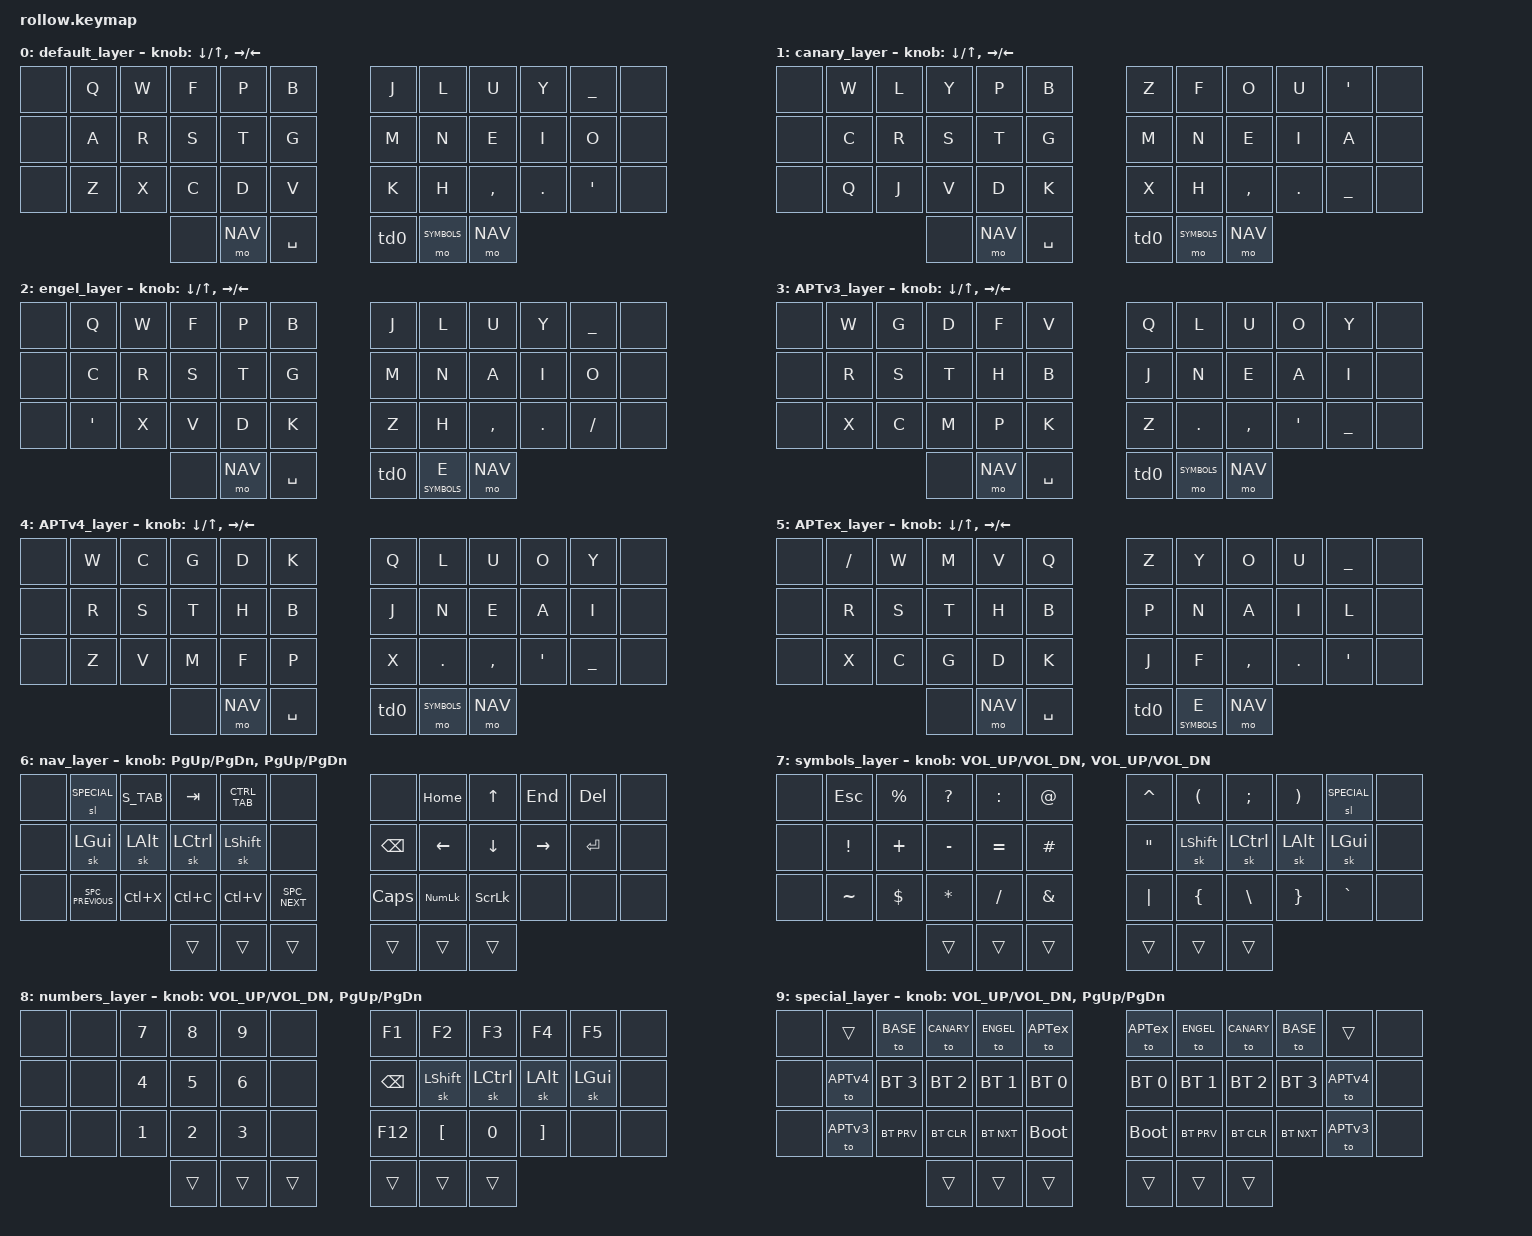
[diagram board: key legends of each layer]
/*
 * Copyright (c) 2020 The ZMK Contributors
 *
 * SPDX-License-Identifier: MIT
 */

#include <behaviors.dtsi>
#include <dt-bindings/zmk/keys.h>
#include <dt-bindings/zmk/bt.h>

#define BASE 0
#define CANARY 1
#define ENGEL 2
#define APTv3 3
#define APTv4 4
#define APTex 5
#define NAV 6
#define SYMBOLS 7
#define NUMBERS 8
#define SPECIAL 9

#define LAUNCHER (LG(TAB))
#define CTRL_TAB (LC(TAB))
#define C_S_TAB (LC(LS(TAB)))

#define SPC_PREVIOUS (LC(LG(LEFT)))
#define S_PRV SPC_PREVIOUS

#define SPC_NEXT (LC(LG(RIGHT)))
#define S_NXT SPC_NEXT

&caps_word {
    continue-list = <UNDERSCORE MINUS>;
};

&sk {
  release-after-ms = <2000>;
  quick-release;
};

/ {

  chosen {
    zmk,battery = &vbatt;
    //zmk,matrix_transform = &five_column_transform;
  };

  vbatt: vbatt {
      compatible = "zmk,battery-nrf-vddh";
      label = "VBATT";
  };

  conditional_layers {
      compatible = "zmk,conditional-layers";
      tri_layer {
          if-layers = <6 7>;
          then-layer = <8>;
      };
  };


  behaviors {
      td0: tap_dance_smart_shift {
          compatible = "zmk,behavior-tap-dance";
          label = "TAP_DANCE_SMART_SHIFT";
          #binding-cells = <0>;
          tapping-term-ms = <175>;
          bindings = <&sk LSHIFT>, <&caps_word>;
      };
      gqt: global-quick-tap {
          compatible = "zmk,behavior-hold-tap";
          label = "GLOBAL_QUICK_TAP";
          #binding-cells = <2>;
          flavor = "tap-preferred";
          tapping-term-ms = <175>;
          quick-tap-ms = <125>;
          global-quick-tap;
          bindings = <&mo>, <&kp>;
      };
  };

  combos {
    compatible = "zmk,combos";
        combo_esc {
            timeout-ms = <40>;
            key-positions = <0 1>;
            bindings = <&kp ESC>;
        };
        combo_sft {
            timeout-ms = <40>;
            key-positions = <37 38>;
            bindings = <&sk LSHIFT>;
        };
    };

        keymap {
                compatible = "zmk,keymap";

                default_layer {
/* Default
 * .-----------------------------------------.                    .-----------------------------------------.
 * | TAB  |   Q  |   W  |   E  |   R  |   T  |                    |   Y  |   U  |   I  |   O  |   P  | BKSP |
 * |------+------+------+------+------+------|                    |------+------+------+------+------+------|
 * | CTRL |   A  |   S  |   D  |   F  |   G  |                    |   H  |   J  |   K  |   L  |   ;  |   '  |
 * |------+------+------+------+------+------|                    |------+------+------+------+------+------|
 * | SHFT |   Z  |   X  |   C  |   V  |   B  |-------.    .-------|   N  |   M  |   ,  |   .  |   /  | SHFT |
 * '-----------------------------------------/       /     \      \-----------------------------------------'
 *                          |  GUI |  LWR | / Space /       \ Space\  |TT(RS)| Tab  |
 *                          |      |      |/       /         \      \ |      |      |
 *                          '-------------''------'           '------''-------------'
 *
 *   Encoder Left: Up <-> Down
 *   Encoder Right: Left <-> Right
 */
                        bindings = <
      &none &kp        Q &kp        W &kp        F &kp        P &kp        B                 &kp        J &kp        L &kp        U &kp        Y &kp    UNDER &none
      &none &kp        A &kp        R &kp        S &kp        T &kp        G                 &kp        M &kp        N &kp        E &kp        I &kp        O &none
      &none &kp        Z &kp        X &kp        C &kp        D &kp        V                 &kp        K &kp        H &kp    COMMA &kp   PERIOD &kp     APOS &none
                                &none        &mo      NAV &kp    SPACE                 &td0         &mo  SYMBOLS &mo      NAV

                        >;

                        sensor-bindings = <&inc_dec_kp DOWN UP &inc_dec_kp RIGHT LEFT>;
                };

                canary_layer {
/* CANARY
 * .-----------------------------------------.                    .-----------------------------------------.
 * | TAB  |   Q  |   W  |   E  |   R  |   T  |                    |   Y  |   U  |   I  |   O  |   P  | BKSP |
 * |------+------+------+------+------+------|                    |------+------+------+------+------+------|
 * | CTRL |   A  |   S  |   D  |   F  |   G  |                    |   H  |   J  |   K  |   L  |   ;  |   '  |
 * |------+------+------+------+------+------|                    |------+------+------+------+------+------|
 * | SHFT |   Z  |   X  |   C  |   V  |   B  |-------.    .-------|   N  |   M  |   ,  |   .  |   /  | SHFT |
 * '-----------------------------------------/       /     \      \-----------------------------------------'
 *                          |  GUI |  LWR | / Space /       \ Space\  |TT(RS)| Tab  |
 *                          |      |      |/       /         \      \ |      |      |
 *                          '-------------''------'           '------''-------------'
 *
 *   Encoder Left: Up <-> Down
 *   Encoder Right: Left <-> Right
 */
                        bindings = <
      &none &kp        W &kp        L &kp        Y &kp        P &kp        B                 &kp        Z &kp        F &kp        O &kp        U &kp     APOS &none
      &none &kp        C &kp        R &kp        S &kp        T &kp        G                 &kp        M &kp        N &kp        E &kp        I &kp        A &none
      &none &kp        Q &kp        J &kp        V &kp        D &kp        K                 &kp        X &kp        H &kp    COMMA &kp   PERIOD &kp    UNDER &none
                                &none        &mo      NAV &kp    SPACE                 &td0         &mo  SYMBOLS &mo      NAV
                        >;

                        sensor-bindings = <&inc_dec_kp DOWN UP &inc_dec_kp RIGHT LEFT>;
                };

                engel_layer {
/* ENGEL
 * .-----------------------------------------.                    .-----------------------------------------.
 * | TAB  |   Q  |   W  |   E  |   R  |   T  |                    |   Y  |   U  |   I  |   O  |   P  | BKSP |
 * |------+------+------+------+------+------|                    |------+------+------+------+------+------|
 * | CTRL |   A  |   S  |   D  |   F  |   G  |                    |   H  |   J  |   K  |   L  |   ;  |   '  |
 * |------+------+------+------+------+------|                    |------+------+------+------+------+------|
 * | SHFT |   Z  |   X  |   C  |   V  |   B  |-------.    .-------|   N  |   M  |   ,  |   .  |   /  | SHFT |
 * '-----------------------------------------/       /     \      \-----------------------------------------'
 *                          |  GUI |  LWR | / Space /       \ Space\  |TT(RS)| Tab  |
 *                          |      |      |/       /         \      \ |      |      |
 *                          '-------------''------'           '------''-------------'
 *
 *   Encoder Left: Up <-> Down
 *   Encoder Right: Left <-> Right
 */
                        bindings = <
      &none &kp        Q &kp        W &kp        F &kp        P &kp        B                 &kp        J &kp        L &kp        U &kp        Y &kp    UNDER &none
      &none &kp        C &kp        R &kp        S &kp        T &kp        G                 &kp        M &kp        N &kp        A &kp        I &kp        O &none
      &none &kp     APOS &kp        X &kp        V &kp        D &kp        K                 &kp        Z &kp        H &kp    COMMA &kp   PERIOD &kp    SLASH &none
                                &none        &mo      NAV &kp    SPACE                 &td0         &gqt SYMBOLS E &mo      NAV
                        >;

                        sensor-bindings = <&inc_dec_kp DOWN UP &inc_dec_kp RIGHT LEFT>;
                };

                APTv3_layer {
/* APTv3
 * .-----------------------------------------.                    .-----------------------------------------.
 * | TAB  |   Q  |   W  |   E  |   R  |   T  |                    |   Y  |   U  |   I  |   O  |   P  | BKSP |
 * |------+------+------+------+------+------|                    |------+------+------+------+------+------|
 * | CTRL |   A  |   S  |   D  |   F  |   G  |                    |   H  |   J  |   K  |   L  |   ;  |   '  |
 * |------+------+------+------+------+------|                    |------+------+------+------+------+------|
 * | SHFT |   Z  |   X  |   C  |   V  |   B  |-------.    .-------|   N  |   M  |   ,  |   .  |   /  | SHFT |
 * '-----------------------------------------/       /     \      \-----------------------------------------'
 *                          |  GUI |  LWR | / Space /       \ Space\  |TT(RS)| Tab  |
 *                          |      |      |/       /         \      \ |      |      |
 *                          '-------------''------'           '------''-------------'
 *
 *   Encoder Left: Up <-> Down
 *   Encoder Right: Left <-> Right
 */
                        bindings = <
      &none &kp        W &kp        G &kp        D &kp        F &kp        V                 &kp        Q &kp        L &kp        U &kp        O &kp        Y &none
      &none &kp        R &kp        S &kp        T &kp        H &kp        B                 &kp        J &kp        N &kp        E &kp        A &kp        I &none
      &none &kp        X &kp        C &kp        M &kp        P &kp        K                 &kp        Z &kp   PERIOD &kp    COMMA &kp     APOS &kp    UNDER &none
                                &none        &mo      NAV &kp    SPACE                 &td0         &mo  SYMBOLS &mo      NAV
                        >;

                        sensor-bindings = <&inc_dec_kp DOWN UP &inc_dec_kp RIGHT LEFT>;
                };

                APTv4_layer {
/* APTv4
 * .-----------------------------------------.                    .-----------------------------------------.
 * | TAB  |   Q  |   W  |   E  |   R  |   T  |                    |   Y  |   U  |   I  |   O  |   P  | BKSP |
 * |------+------+------+------+------+------|                    |------+------+------+------+------+------|
 * | CTRL |   A  |   S  |   D  |   F  |   G  |                    |   H  |   J  |   K  |   L  |   ;  |   '  |
 * |------+------+------+------+------+------|                    |------+------+------+------+------+------|
 * | SHFT |   Z  |   X  |   C  |   V  |   B  |-------.    .-------|   N  |   M  |   ,  |   .  |   /  | SHFT |
 * '-----------------------------------------/       /     \      \-----------------------------------------'
 *                          |  GUI |  LWR | / Space /       \ Space\  |TT(RS)| Tab  |
 *                          |      |      |/       /         \      \ |      |      |
 *                          '-------------''------'           '------''-------------'
 *
 *   Encoder Left: Up <-> Down
 *   Encoder Right: Left <-> Right
 */
                        bindings = <
      &none &kp        W &kp        C &kp        G &kp        D &kp        K                 &kp        Q &kp        L &kp        U &kp        O &kp        Y &none
      &none &kp        R &kp        S &kp        T &kp        H &kp        B                 &kp        J &kp        N &kp        E &kp        A &kp        I &none
      &none &kp        Z &kp        V &kp        M &kp        F &kp        P                 &kp        X &kp   PERIOD &kp    COMMA &kp     APOS &kp    UNDER &none
                                &none        &mo      NAV &kp    SPACE                 &td0         &mo  SYMBOLS &mo      NAV
                        >;

                        sensor-bindings = <&inc_dec_kp DOWN UP &inc_dec_kp RIGHT LEFT>;
                };

                APTex_layer {
/* APTex
 * .-----------------------------------------.                    .-----------------------------------------.
 * | TAB  |   Q  |   W  |   E  |   R  |   T  |                    |   Y  |   U  |   I  |   O  |   P  | BKSP |
 * |------+------+------+------+------+------|                    |------+------+------+------+------+------|
 * | CTRL |   A  |   S  |   D  |   F  |   G  |                    |   H  |   J  |   K  |   L  |   ;  |   '  |
 * |------+------+------+------+------+------|                    |------+------+------+------+------+------|
 * | SHFT |   Z  |   X  |   C  |   V  |   B  |-------.    .-------|   N  |   M  |   ,  |   .  |   /  | SHFT |
 * '-----------------------------------------/       /     \      \-----------------------------------------'
 *                          |  GUI |  LWR | / Space /       \ Space\  |TT(RS)| Tab  |
 *                          |      |      |/       /         \      \ |      |      |
 *                          '-------------''------'           '------''-------------'
 *
 *   Encoder Left: Up <-> Down
 *   Encoder Right: Left <-> Right
 */
                        bindings = <
      &none &kp    SLASH &kp        W &kp        M &kp        V &kp        Q                 &kp        Z &kp        Y &kp        O &kp        U &kp    UNDER &none
      &none &kp        R &kp        S &kp        T &kp        H &kp        B                 &kp        P &kp        N &kp        A &kp        I &kp        L &none
      &none &kp        X &kp        C &kp        G &kp        D &kp        K                 &kp        J &kp        F &kp    COMMA &kp      DOT &kp     APOS &none
                                &none        &mo      NAV &kp    SPACE                 &td0         &gqt SYMBOLS E &mo      NAV
                        >;

                        sensor-bindings = <&inc_dec_kp DOWN UP &inc_dec_kp RIGHT LEFT>;
                };

                nav_layer {
/* NAV
 * .-----------------------------------------.                    .-----------------------------------------.
 * |  ESC |   1  |  2   |  3   |  4   |  5   |                    |   6  |   7  |   8  |   9  |   0  | BKSP |
 * |------+------+------+------+------+------|                    |------+------+------+------+------+------|
 * | BTCLR| BT1  | BT2  | BT3  | BT4  | BT5  |                    |  LFT |  DWN |   UP |  RGT |      |      |
 * |------+------+------+------+------+------|                    |------+------+------+------+------+------|
 * | SHFT |      |      |      |      |      |-------.    .-------|      |      |      |      |      |      |
 * '-----------------------------------------/       /     \      \-----------------------------------------'
 *                          |  GUI |      | / Space /       \ Enter\  |      |  ALT |
 *                          |      |      |/       /         \      \ |      |      |
 *                          '-------------''------'           '------''-------------'
 * 
 *   Encoder Left: PG_UP <-> PG_DN
 *   Encoder Right: -
 */
                        bindings = <
      &none &sl  SPECIAL &kp  C_S_TAB &kp      TAB &kp CTRL_TAB &none                        &none        &kp     HOME &kp       UP &kp      END &kp      DEL &none
      &none &sk     LGUI &sk     LALT &sk    LCTRL &sk   LSHIFT &none                        &kp     BSPC &kp     LEFT &kp     DOWN &kp    RIGHT &kp    ENTER &none
      &none &kp    S_PRV &kp    LC(X) &kp    LC(C) &kp    LC(V) &kp    S_NXT                 &kp CAPS     &kp KP_NLCK  &kp SLCK     &none        &none        &none
                                &trans       &trans       &trans                       &trans       &trans       &trans
                            >;

                            sensor-bindings = <&inc_dec_kp PG_UP PG_DN &inc_dec_kp PG_UP PG_DN>;
                };

                symbols_layer {
/* SYMBOLS
 * .-----------------------------------------.                    .-----------------------------------------.
 * | ESC  |   !  |   @  |   #  |   $  |   %  |                    |   ^  |   &  |   *  |   (  |   )  | BKSP |
 * |------+------+------+------+------+------|                    |------+------+------+------+------+------|
 * | CTRL |      |      | Prev | Next |      |                    |   -  |   =  |   {  |   }  |  "|" |   `  |
 * |------+------+------+------+------+------|                    |------+------+------+------+------+------|
 * | SHFT |      |      |      |      |      |-------.    .-------|   _  |   +  |   [  |   ]  |   \  |   ~  |
 * '-----------------------------------------/       /     \      \-----------------------------------------'
 *                          | Play |      | / Space /       \ Enter\  |      |  ALT |
 *                          | Paus |      |/       /         \      \ |      |      |
 *                          '------------''------'            '------''-------------'
 *
 *   Encoder Left: -
 *   Encoder Right: VOL_UP <-> VOL_D
 */
                        bindings = <
      &none &kp      ESC &kp    PRCNT &kp    QMARK &kp    COLON &kp       AT                 &kp    CARET &kp     LPAR &kp     SEMI &kp     RPAR &sl  SPECIAL &none
      &none &kp     EXCL &kp     PLUS &kp    MINUS &kp    EQUAL &kp     HASH                 &kp      DQT &sk   LSHIFT &sk    LCTRL &sk     LALT &sk     LGUI &none
      &none &kp    TILDE &kp   DOLLAR &kp    ASTRK &kp    SLASH &kp     AMPS                 &kp     PIPE &kp     LBRC &kp     BSLH &kp     RBRC &kp    GRAVE &none
                                &trans       &trans       &trans                       &trans       &trans       &trans
                        >;
   
                        sensor-bindings = <&inc_dec_kp C_VOL_UP C_VOL_DN &inc_dec_kp C_VOL_UP C_VOL_DN>;
                };
 
                 numbers_layer {
/* NUMBERS
 * .-----------------------------------------.                    .-----------------------------------------.
 * | ESC  |   !  |   @  |   #  |   $  |   %  |                    |   ^  |   &  |   *  |   (  |   )  | BKSP |
 * |------+------+------+------+------+------|                    |------+------+------+------+------+------|
 * | CTRL |      |      | Prev | Next |      |                    |   -  |   =  |   {  |   }  |  "|" |   `  |
 * |------+------+------+------+------+------|                    |------+------+------+------+------+------|
 * | SHFT |      |      |      |      |      |-------.    .-------|   _  |   +  |   [  |   ]  |   \  |   ~  |
 * '-----------------------------------------/       /     \      \-----------------------------------------'
 *                          | Play |      | / Space /       \ Enter\  |      |  ALT |
 *                          | Paus |      |/       /         \      \ |      |      |
 *                          '------------''------'            '------''-------------'
 *
 *   Encoder Left: -
 *   Encoder Right: VOL_UP <-> VOL_D
 */
                        bindings = <
      &none &none        &kp       N7 &kp       N8 &kp       N9 &none                        &kp       F1 &kp       F2 &kp       F3 &kp       F4 &kp       F5 &none
      &none &none        &kp       N4 &kp       N5 &kp       N6 &none                        &kp     BSPC &sk   LSHIFT &sk    LCTRL &sk     LALT &sk     LGUI &none
      &none &none        &kp       N1 &kp       N2 &kp       N3 &none                        &kp      F12 &kp     LBKT &kp       N0 &kp     RBKT &none        &none
                                &trans       &trans       &trans                       &trans       &trans       &trans
                        >;

                        sensor-bindings = <&inc_dec_kp C_VOL_UP C_VOL_DN &inc_dec_kp PG_UP PG_DN>;
                };

                special_layer {
/* SPECIAL
 * .-----------------------------------------.                    .-----------------------------------------.
 * | ESC  |   !  |   @  |   #  |   $  |   %  |                    |   ^  |   &  |   *  |   (  |   )  | BKSP |
 * |------+------+------+------+------+------|                    |------+------+------+------+------+------|
 * | CTRL |      |      | Prev | Next |      |                    |   -  |   =  |   {  |   }  |  "|" |   `  |
 * |------+------+------+------+------+------|                    |------+------+------+------+------+------|
 * | SHFT |      |      |      |      |      |-------.    .-------|   _  |   +  |   [  |   ]  |   \  |   ~  |
 * '-----------------------------------------/       /     \      \-----------------------------------------'
 *                          | Play |      | / Space /       \ Enter\  |      |  ALT |
 *                          | Paus |      |/       /         \      \ |      |      |
 *                          '------------''------'            '------''-------------'
 *
 *   Encoder Left: -
 *   Encoder Right: VOL_UP <-> VOL_D
 */
                        bindings = <
      &none &trans       &to BASE     &to CANARY   &to ENGEL    &to APTex                    &to APTex    &to ENGEL    &to CANARY   &to BASE     &trans    &none
      &none &to APTv4    &bt BT_SEL 3 &bt BT_SEL 2 &bt BT_SEL 1 &bt BT_SEL 0                 &bt BT_SEL 0 &bt BT_SEL 1 &bt BT_SEL 2 &bt BT_SEL 3 &to APTv4 &none
      &none &to APTv3    &bt   BT_PRV &bt   BT_CLR &bt   BT_NXT &bootloader                  &bootloader  &bt   BT_PRV &bt   BT_CLR &bt   BT_NXT &to APTv3 &none
                                &trans       &trans       &trans                       &trans       &trans       &trans
                        >;
   
                        sensor-bindings = <&inc_dec_kp C_VOL_UP C_VOL_DN &inc_dec_kp PG_UP PG_DN>;
                };
        };
};
